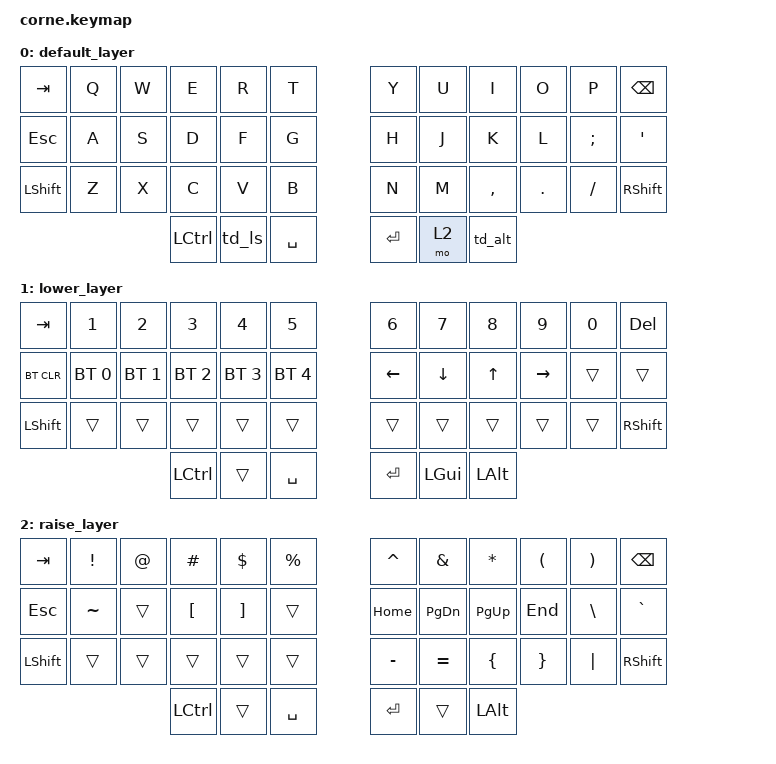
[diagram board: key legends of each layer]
/*
 * Copyright (c) 2020 The ZMK Contributors
 * SPDX-License-Identifier: MIT
 */

#include <behaviors.dtsi>
#include <dt-bindings/zmk/keys.h>
#include <dt-bindings/zmk/bt.h>

/ {
    behaviors {
      // mog-morph for RALT/LALT
      malt: modmorph_alt {
        compatible = "zmk,behavior-mod-morph";
        #binding-cells = <0>;
        bindings = <&kp RALT>, <&kp LALT>;
        mods = <(MOD_LGUI|MOD_LCTL|MOD_RGUI|MOD_RCTL)>;
      };
      // tap dance on middle thumb key -- just hold it to raise the layer,
      // tap-hold for SUPER/GUI key
      td_ls: tap_dance_0 {
        compatible = "zmk,behavior-tap-dance";
        #binding-cells = <0>;
        tapping-term-ms = <300>;
        bindings = <&mo 1>, <&kp LGUI>;
      };
      // tap dance for RALT/ALT switch 
      td_alt: tap_dance_1 {
        compatible = "zmk,behavior-tap-dance";
        #binding-cells = <0>;
        tapping-term-ms = <300>;
        bindings = <&malt>, <&kp LALT>;
      };
    };

    keymap {
      compatible = "zmk,keymap";

      default_layer {
// -----------------------------------------------------------------------------------------
// |  TAB |  Q  |  W  |  E  |  R  |  T  |   |  Y  |  U   |  I  |  O  |  P  | BSPC |
// | ESC  |  A  |  S  |  D  |  F  |  G  |   |  H  |  J   |  K  |  L  |  ;  |  '   |
// | SHFT |  Z  |  X  |  C  |  V  |  B  |   |  N  |  M   |  ,  |  .  |  /  | SHFT |
//                    | CTRL| LWR | SPC |   | ENT | RSE  | ALT |
        bindings = <
   &kp TAB   &kp Q &kp W &kp E &kp R &kp T   &kp Y &kp U  &kp I     &kp O   &kp P    &kp BSPC
   &kp ESC &kp A &kp S &kp D &kp F &kp G   &kp H &kp J  &kp K     &kp L   &kp SEMI &kp SQT
   &kp LSHFT &kp Z &kp X &kp C &kp V &kp B   &kp N &kp M  &kp COMMA &kp DOT &kp FSLH &kp RSHFT
                  &kp LCTRL &td_ls &kp SPACE   &kp RET &mo 2 &td_alt
        >;
      };
      lower_layer {
// -----------------------------------------------------------------------------------------
// |  TAB |  1  |  2  |  3  |  4  |  5  |   |  6  |  7  |  8  |  9  |  0  | BSPC |
// | BTCLR| BT1 | BT2 | BT3 | BT4 | BT5 |   | LFT | DWN |  UP | RGT |     |      |
// | SHFT |     |     |     |     |     |   |     |     |     |     |     | SHFT |
//                    | CTRL|     | SPC |   | ENT | GUI | ALT |
        bindings = <
   &kp TAB    &kp N1       &kp N2       &kp N3       &kp N4       &kp N5         &kp N6   &kp N7   &kp N8 &kp N9    &kp N0 &kp DEL
   &bt BT_CLR &bt BT_SEL 0 &bt BT_SEL 1 &bt BT_SEL 2 &bt BT_SEL 3 &bt BT_SEL 4   &kp LEFT &kp DOWN &kp UP &kp RIGHT &trans &trans
   &kp LSHFT  &trans       &trans       &trans       &trans       &trans         &trans   &trans   &trans &trans    &trans &kp RSHFT
                                    &kp LCTRL     &trans       &kp SPACE      &kp RET  &kp LGUI   &kp LALT
        >;
      };
      raise_layer {
// -----------------------------------------------------------------------------------------
// |  TAB |  !  |  @  |  #  |  $  |  %  |   |  ^  |  &  |  *  |  (  |  )  | BSPC |
// | ESC  |  ~  |     |  [  |  ]  |     |   | HOME|PG_DN|PG_UP| END |  \  |  `   |
// | SHFT |     |     |     |     |     |   |  -  |  =  |  {  |  }  | "|" | SHFT |
//                    | CTRL|     | SPC |   | ENT |     | ALT |
        bindings = <
   &kp TAB   &kp EXCL  &kp AT    &kp HASH &kp DLLR    &kp PRCNT &kp CARET &kp AMPS  &kp ASTRK &kp LPAR &kp RPAR &kp BSPC
   &kp ESC   &kp TILDE &trans    &kp LBKT &kp RBKT    &trans    &kp HOME  &kp PG_DN &kp PG_UP &kp END  &kp BSLH &kp GRAVE
   &kp LSHFT &trans    &trans    &trans   &trans      &trans    &kp MINUS &kp EQUAL &kp LBRC  &kp RBRC &kp PIPE &kp RSHFT
                       &kp LCTRL &trans   &kp SPACE   &kp RET   &trans    &kp LALT
        >;
      };
    }; // END keymap

    // =========================================================================================
    // Default bindings for reference
    // -----------------------------------------------------------------------------------------
    // Default level
    // |  TAB |  Q  |  W  |  E  |  R  |  T  |   |  Y  |  U   |  I  |  O  |  P  | BSPC |
    // | CTRL |  A  |  S  |  D  |  F  |  G  |   |  H  |  J   |  K  |  L  |  ;  |  '   |
    // | SHFT |  Z  |  X  |  C  |  V  |  B  |   |  N  |  M   |  ,  |  .  |  /  | ESC  |
    //                    | GUI | LWR | SPC |   | ENT | RSE  | ALT |
    // -----------------------------------------------------------------------------------------
    // lower_layer
    // |  TAB |  1  |  2  |  3  |  4  |  5  |   |  6  |  7  |  8  |  9  |  0  | BSPC |
    // | BTCLR| BT1 | BT2 | BT3 | BT4 | BT5 |   | LFT | DWN |  UP | RGT |     |      |
    // | SHFT |     |     |     |     |     |   |     |     |     |     |     |      |
    //                    | GUI |     | SPC |   | ENT |     | ALT |
    // -----------------------------------------------------------------------------------------
    // raise_layer
    // |  TAB |  !  |  @  |  #  |  $  |  %  |   |  ^  |  &  |  *  |  (  |  )  | BSPC |
    // | CTRL |     |     |     |     |     |   |  -  |  =  |  [  |  ]  |  \  |  `   |
    // | SHFT |     |     |     |     |     |   |  _  |  +  |  {  |  }  | "|" |  ~   |
    //                    | GUI |     | SPC |   | ENT |     | ALT |
};
